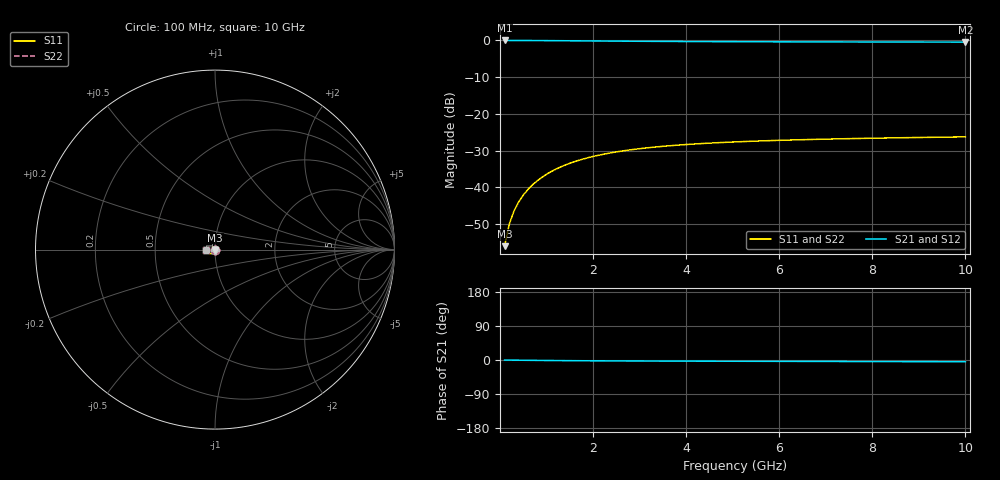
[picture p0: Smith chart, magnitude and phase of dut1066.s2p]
! Touchstone file exported from HFSS 2024.1.0
!  File:  C:/UserFiles/LocalFiles/RDL_TSV_Batchsim/temp_TSV1_1066_1780063965.aedt
!  Generated:  10:19:23 PM May 29, 2026
!  Design:  TSV1
!  Project:  temp_TSV1_1066_1780063965
!  Setup:  Setup1
!  Solution:  Sweep
! Variables:
!  dtsv = 12.65um
!  hbump = 3um
!  htsv = 70.81um
!  lrdl = 252.1521522um
!  p = 40
!  p1 = 54.89um
!  t = 500um
!  trdl = 3um
!  wrdl = 24.89489489um
# GHz S MA R 50.000000
! Terminal data exported
! Port[1] = TSV22_T1
! Port[2] = TSV22_T2
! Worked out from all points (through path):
!   100 points, 100 MHz to 10 GHz, reference 50 ohm
!   highest |S21| = 0.00 dB at 100 MHz (marker M1); lowest = -0.4 dB at 10 GHz (marker M2)
!   lowest |S11| = -56.0 dB at 100 MHz (marker M3), VSWR 1.00, Z = 50 - j0.158 ohm
!   |S11| at or under -10 dB: start of sweep to end of sweep
!   |S22| runs from -56.0 to -26.3 dB; largest |S21 - S12| = 1e-14
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0.1  0.001584 -89.1  0.9999 -0.1  0.9999 -0.1  0.001584 -89.1
! Gamma 0 0 0 0
! Port Impedance 50 0 50 0
0.2  0.003164 -92.5  0.9997 -0.3  0.9997 -0.3  0.003164 -92.5
0.3  0.004738 -95.0  0.9994 -0.4  0.9994 -0.4  0.004738 -95.0
0.4  0.006299 -97.3  0.999 -0.5  0.999 -0.5  0.006299 -97.3
0.5  0.00784 -99.5  0.9984 -0.7  0.9984 -0.7  0.00784 -99.5
0.6  0.009355 -101.7  0.9978 -0.8  0.9978 -0.8  0.009355 -101.7
0.7  0.01084 -103.8  0.9972 -0.9  0.9972 -0.9  0.01084 -103.8
0.8  0.01229 -105.8  0.9964 -1.0  0.9964 -1.0  0.01229 -105.8
0.9  0.0137 -107.8  0.9956 -1.2  0.9956 -1.2  0.0137 -107.8
1.1  0.0164 -111.6  0.9937 -1.4  0.9937 -1.4  0.0164 -111.6
1.4  0.02012 -117.0  0.9907 -1.7  0.9907 -1.7  0.02012 -117.0
1.6  0.02237 -120.3  0.9885 -1.8  0.9885 -1.8  0.02237 -120.3
1.8  0.02444 -123.5  0.9864 -2.0  0.9864 -2.0  0.02444 -123.5
2.1  0.02723 -127.9  0.9832 -2.2  0.9832 -2.2  0.02723 -127.9
2.5  0.0304 -133.2  0.9791 -2.4  0.9791 -2.4  0.0304 -133.2
2.9  0.03304 -137.9  0.9755 -2.6  0.9755 -2.6  0.03304 -137.9
3.4  0.03574 -143.0  0.9714 -2.8  0.9714 -2.8  0.03574 -143.0
4.2  0.03903 -149.9  0.9661 -3.1  0.9661 -3.1  0.03903 -149.9
5.1  0.04171 -156.2  0.9616 -3.3  0.9616 -3.3  0.04171 -156.2
6.7  0.04492 -165.0  0.9561 -3.7  0.9561 -3.7  0.04492 -165.0
8.4  0.04715 -172.4  0.9524 -4.2  0.9524 -4.2  0.04715 -172.4
10  0.0487 -178.0  0.9501 -4.7  0.9501 -4.7  0.0487 -178.0
